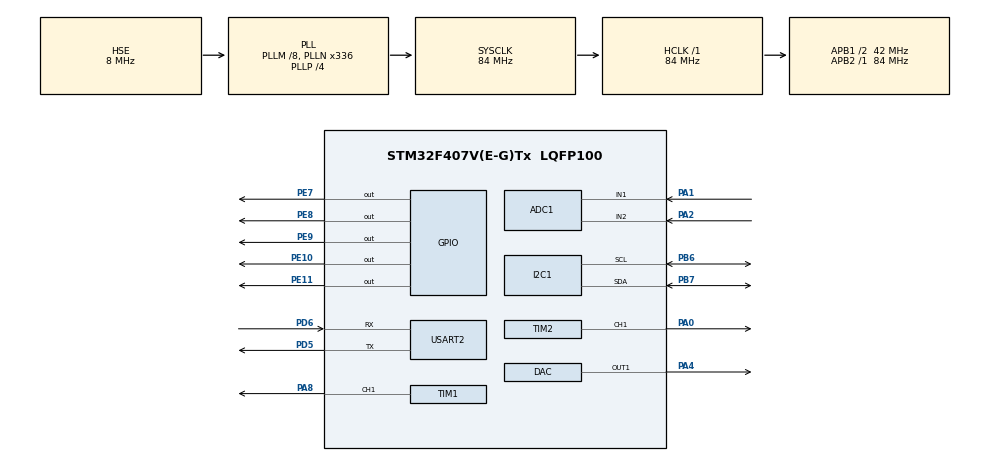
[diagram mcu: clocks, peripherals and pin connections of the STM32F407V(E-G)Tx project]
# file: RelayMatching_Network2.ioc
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ADC1.Channel-10\#ChannelRegularConversion=ADC_CHANNEL_2
ADC1.Channel-7\#ChannelRegularConversion=ADC_CHANNEL_1
ADC1.Channel-8\#ChannelInjectedConversion=ADC_CHANNEL_2
ADC1.Channel-9\#ChannelInjectedConversion=ADC_CHANNEL_2
ADC1.ContinuousConvMode=ENABLE
ADC1.DMAContinuousRequests=ENABLE
ADC1.EOCSelection=ADC_EOC_SEQ_CONV
ADC1.EnableAnalogWatchDog=true
ADC1.ITMode=ENABLE
ADC1.InjNumberOfConversion=2
ADC1.InjectedOffset-8\#ChannelInjectedConversion=0
ADC1.InjectedOffset-9\#ChannelInjectedConversion=0
ADC1.InjectedRank-8\#ChannelInjectedConversion=1
ADC1.InjectedRank-9\#ChannelInjectedConversion=2
ADC1.NbrOfConversion=2
ADC1.NbrOfConversionFlag=1
ADC1.Rank-10\#ChannelRegularConversion=2
ADC1.Rank-7\#ChannelRegularConversion=1
ADC1.SamplingTime-10\#ChannelRegularConversion=ADC_SAMPLETIME_480CYCLES
ADC1.SamplingTime-7\#ChannelRegularConversion=ADC_SAMPLETIME_480CYCLES
ADC1.SamplingTime-8\#ChannelInjectedConversion=ADC_SAMPLETIME_3CYCLES
ADC1.SamplingTime-9\#ChannelInjectedConversion=ADC_SAMPLETIME_3CYCLES
ADC1.WatchdogChannel=ADC_CHANNEL_1
ADC1.master=1
DAC.DAC_Trigger=DAC_TRIGGER_T6_TRGO
Dma.ADC1.0.Direction=DMA_PERIPH_TO_MEMORY
Dma.ADC1.0.FIFOMode=DMA_FIFOMODE_DISABLE
Dma.ADC1.0.Instance=DMA2_Stream0
Dma.ADC1.0.MemDataAlignment=DMA_MDATAALIGN_HALFWORD
Dma.ADC1.0.MemInc=DMA_MINC_ENABLE
Dma.ADC1.0.Mode=DMA_CIRCULAR
Dma.ADC1.0.PeriphDataAlignment=DMA_PDATAALIGN_HALFWORD
Dma.ADC1.0.PeriphInc=DMA_PINC_DISABLE
Dma.ADC1.0.Priority=DMA_PRIORITY_LOW
Dma.DAC1.1.Direction=DMA_MEMORY_TO_PERIPH
Dma.DAC1.1.FIFOMode=DMA_FIFOMODE_DISABLE
Dma.DAC1.1.Instance=DMA1_Stream5
Dma.DAC1.1.MemDataAlignment=DMA_MDATAALIGN_HALFWORD
Dma.DAC1.1.MemInc=DMA_MINC_ENABLE
Dma.DAC1.1.Mode=DMA_CIRCULAR
Dma.DAC1.1.PeriphDataAlignment=DMA_PDATAALIGN_HALFWORD
Dma.DAC1.1.PeriphInc=DMA_PINC_DISABLE
Dma.DAC1.1.Priority=DMA_PRIORITY_LOW
Dma.Request0=ADC1
Dma.Request1=DAC1
Mcu.Family=STM32F4
Mcu.Name=STM32F407V(E-G)Tx
Mcu.Package=LQFP100
NVIC.ADC_IRQn=true\:0\:0\:false\:false\:true\:true\:true\:true
NVIC.DMA1_Stream5_IRQn=true\:0\:0\:false\:false\:true\:false\:true\:true
NVIC.DMA2_Stream0_IRQn=true\:0\:0\:false\:false\:true\:false\:true\:true
NVIC.PriorityGroup=NVIC_PRIORITYGROUP_0
NVIC.USART2_IRQn=true\:0\:0\:false\:false\:true\:true\:true\:true
PA0-WKUP.Signal=S_TIM2_CH1_ETR
PA1.Signal=ADCx_IN1
PA13.Mode=Serial_Wire
PA13.Signal=SYS_JTMS-SWDIO
PA14.Mode=Serial_Wire
PA14.Signal=SYS_JTCK-SWCLK
PA2.Signal=ADCx_IN2
PA4.Signal=COMP_DAC1_group
PA8.Signal=S_TIM1_CH1
PB6.Mode=I2C
PB6.Signal=I2C1_SCL
PB7.Mode=I2C
PB7.Signal=I2C1_SDA
PD5.Mode=Asynchronous
PD5.Signal=USART2_TX
PD6.Mode=Asynchronous
PD6.Signal=USART2_RX
PE10.Signal=GPIO_Output
PE11.Signal=GPIO_Output
PE7.Signal=GPIO_Output
PE8.Signal=GPIO_Output
PE9.Signal=GPIO_Output
PH0-OSC_IN.Mode=HSE-External-Oscillator
PH0-OSC_IN.Signal=RCC_OSC_IN
PH1-OSC_OUT.Mode=HSE-External-Oscillator
PH1-OSC_OUT.Signal=RCC_OSC_OUT
ProjectManager.HeapSize=0x200
ProjectManager.StackSize=0x400
ProjectManager.TargetToolchain=STM32CubeIDE
RCC.48MHZClocksFreq_Value=48000000
RCC.AHBFreq_Value=84000000
RCC.APB1CLKDivider=RCC_HCLK_DIV2
RCC.APB1Freq_Value=42000000
RCC.APB1TimFreq_Value=84000000
RCC.APB2Freq_Value=84000000
RCC.APB2TimFreq_Value=84000000
RCC.CortexFreq_Value=84000000
RCC.HCLKFreq_Value=84000000
RCC.HSE_VALUE=8000000
RCC.HSI_VALUE=16000000
RCC.LSE_VALUE=32768
RCC.PLLM=8
RCC.PLLN=336
RCC.PLLP=RCC_PLLP_DIV4
RCC.PLLQ=7
RCC.PLLSourceVirtual=RCC_PLLSOURCE_HSE
RCC.SYSCLKFreq_VALUE=84000000
RCC.SYSCLKSource=RCC_SYSCLKSOURCE_PLLCLK
RCC.VCOOutputFreq_Value=336000000
SH.ADCx_IN1.0=ADC1_IN1,IN1
SH.ADCx_IN2.0=ADC1_IN2,IN2
SH.COMP_DAC1_group.0=DAC_OUT1,DAC_OUT1
SH.S_TIM1_CH1.0=TIM1_CH1,PWM Generation1 CH1
SH.S_TIM2_CH1_ETR.0=TIM2_CH1,PWM Generation1 CH1
TIM1.Channel-PWM\ Generation1\ CH1=TIM_CHANNEL_1
TIM1.Period=199
TIM1.Prescaler=69
TIM2.Channel-PWM\ Generation1\ CH1=TIM_CHANNEL_1
TIM2.Period=199
TIM2.Prescaler=69
TIM6.Period=65
TIM6.Prescaler=0
TIM6.TIM_MasterOutputTrigger=TIM_TRGO_UPDATE
USART2.VirtualMode=VM_ASYNC
VP_TIM1_VS_ClockSourceINT.Mode=Internal
VP_TIM2_VS_ClockSourceINT.Mode=Internal
VP_TIM6_VS_ClockSourceINT.Mode=Enable_Timer
board=STM32F407G-DISC1

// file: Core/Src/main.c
/* USER CODE BEGIN Header */
/**
  ******************************************************************************
  * @file           : main.c
  * @brief          : Main program body
  ******************************************************************************
  * @attention
  *
  * Copyright (c) 2025 STMicroelectronics.
  * All rights reserved.
  *
  * This software is licensed under terms that can be found in the LICENSE file
  * in the root directory of this software component.
  * If no LICENSE file comes with this software, it is provided AS-IS.
  *
  ******************************************************************************
  */
/* USER CODE END Header */
#include "main.h"

/* USER CODE BEGIN Includes */
#include <stdio.h>
#include <string.h>
#include "uart_handler.h"
#include <math.h>
#include "i2ccomm.h"
#include "sine_generator.h"

/* USER CODE END Includes */

ADC_HandleTypeDef hadc1;
DMA_HandleTypeDef hdma_adc1;

DAC_HandleTypeDef hdac;
DMA_HandleTypeDef hdma_dac1;

I2C_HandleTypeDef hi2c1;

TIM_HandleTypeDef htim1;
TIM_HandleTypeDef htim2;
TIM_HandleTypeDef htim6;

UART_HandleTypeDef huart2;

/* USER CODE BEGIN PV */
// This is the one and only DEFINITION of the variable.
// It tells the compiler to allocate memory for it.
// Application state variable
volatile uint8_t g_test_is_running = 1;

// Application data

/* USER CODE END PV */

void SystemClock_Config(void);
static void MX_GPIO_Init(void);
static void MX_DMA_Init(void);
static void MX_ADC1_Init(void);
static void MX_TIM2_Init(void);
static void MX_USART2_UART_Init(void);
static void MX_I2C1_Init(void);
static void MX_TIM1_Init(void);
static void MX_DAC_Init(void);
static void MX_TIM6_Init(void);

int main(void)
{

  /* MCU Configuration--------------------------------------------------------*/

  /* Reset of all peripherals, Initializes the Flash interface and the Systick. */
  HAL_Init();

  /* Configure the system clock */
  SystemClock_Config();

  /* Initialize all configured peripherals */
  MX_GPIO_Init();
  MX_DMA_Init();
  MX_ADC1_Init();
  MX_TIM2_Init();
  MX_USART2_UART_Init();
  MX_I2C1_Init();
  MX_TIM1_Init();
  MX_DAC_Init();
  MX_TIM6_Init();
  /* USER CODE BEGIN 2 */
  uart_handler_init(&huart2); // When regenerated this line of Code would always reset need to add
  SineGenerator_Start(&hdac, &htim6);
  /* USER CODE END 2 */

  /* Infinite loop */
  while (1)
  {

    /* USER CODE BEGIN 3 */
		/* ================================================================
		 * SECTION 1: UART COMMAND HANDLING (PRODUCER–CONSUMER)
		 * ================================================================ */

		if (uart_command_is_ready()) {
			const char *command = (const char*) uart_get_command_buffer();

			printf("DBG_MAIN: Command received: [%s]\r\n", command);
			fflush(stdout);

			if (strcmp(command, "CMD:STOP_TEST") == 0) {
				g_test_is_running = 0;
			}
			else if (strcmp(command, "CMD:CONFIG1") == 0)
			{
				g_test_is_running = 1;
			}
			else if (strcmp(command, "CMD:CONFIG2") == 0)
			{
				g_test_is_running = 2;
			}
			else if (strcmp(command, "CMD:CONFIG3") == 0)
			{
				g_test_is_running = 3;
			}
			else
			{
				printf("DBG_MAIN: Unknown command\r\n");
				fflush(stdout);
			}

			uart_reset_for_next_command();
		}

		/* ================================================================
		 * SECTION 2: STATE-BASED ACTION DISPATCH
		 * ================================================================ */
		switch (g_test_is_running) {
		case 0:
			/* Full automated test */
			TurnRelayOff();
			printf("All relays turned off \r\n");
			break;

		case 1:
			TurnK1K2On();
			printf("Relay 1 and 2 is turned on \r\n");
			break;

		case 2:
			TurnK3On();
			printf("Relay 2 is turned on \r\n");
			break;

		case 3:
			TurnK4On();
			printf("Relay 2 is turned on \r\n");
			break;

		default:
			/* Idle */
			break;
		}

		HAL_Delay(100);

  }
  /* USER CODE END 3 */
}

void SystemClock_Config(void)
{
  RCC_OscInitTypeDef RCC_OscInitStruct = {0};
  RCC_ClkInitTypeDef RCC_ClkInitStruct = {0};

  /** Configure the main internal regulator output voltage
  */
  __HAL_RCC_PWR_CLK_ENABLE();
  __HAL_PWR_VOLTAGESCALING_CONFIG(PWR_REGULATOR_VOLTAGE_SCALE1);

  /** Initializes the RCC Oscillators according to the specified parameters
  * in the RCC_OscInitTypeDef structure.
  */
  RCC_OscInitStruct.OscillatorType = RCC_OSCILLATORTYPE_HSE;
  RCC_OscInitStruct.HSEState = RCC_HSE_ON;
  RCC_OscInitStruct.PLL.PLLState = RCC_PLL_ON;
  RCC_OscInitStruct.PLL.PLLSource = RCC_PLLSOURCE_HSE;
  RCC_OscInitStruct.PLL.PLLM = 8;
  RCC_OscInitStruct.PLL.PLLN = 336;
  RCC_OscInitStruct.PLL.PLLP = RCC_PLLP_DIV4;
  RCC_OscInitStruct.PLL.PLLQ = 7;
  if (HAL_RCC_OscConfig(&RCC_OscInitStruct) != HAL_OK)
  {
    Error_Handler();
  }

  /** Initializes the CPU, AHB and APB buses clocks
  */
  RCC_ClkInitStruct.ClockType = RCC_CLOCKTYPE_HCLK|RCC_CLOCKTYPE_SYSCLK
                              |RCC_CLOCKTYPE_PCLK1|RCC_CLOCKTYPE_PCLK2;
  RCC_ClkInitStruct.SYSCLKSource = RCC_SYSCLKSOURCE_PLLCLK;
  RCC_ClkInitStruct.AHBCLKDivider = RCC_SYSCLK_DIV1;
  RCC_ClkInitStruct.APB1CLKDivider = RCC_HCLK_DIV2;
  RCC_ClkInitStruct.APB2CLKDivider = RCC_HCLK_DIV1;

  if (HAL_RCC_ClockConfig(&RCC_ClkInitStruct, FLASH_LATENCY_2) != HAL_OK)
  {
    Error_Handler();
  }
}

static void MX_ADC1_Init(void)
{

  ADC_AnalogWDGConfTypeDef AnalogWDGConfig = {0};
  ADC_ChannelConfTypeDef sConfig = {0};
  ADC_InjectionConfTypeDef sConfigInjected = {0};

  /** Configure the global features of the ADC (Clock, Resolution, Data Alignment and number of conversion)
  */
  hadc1.Instance = ADC1;
  hadc1.Init.ClockPrescaler = ADC_CLOCK_SYNC_PCLK_DIV4;
  hadc1.Init.Resolution = ADC_RESOLUTION_12B;
  hadc1.Init.ScanConvMode = ENABLE;
  hadc1.Init.ContinuousConvMode = ENABLE;
  hadc1.Init.DiscontinuousConvMode = DISABLE;
  hadc1.Init.ExternalTrigConvEdge = ADC_EXTERNALTRIGCONVEDGE_NONE;
  hadc1.Init.ExternalTrigConv = ADC_SOFTWARE_START;
  hadc1.Init.DataAlign = ADC_DATAALIGN_RIGHT;
  hadc1.Init.NbrOfConversion = 2;
  hadc1.Init.DMAContinuousRequests = ENABLE;
  hadc1.Init.EOCSelection = ADC_EOC_SEQ_CONV;
  if (HAL_ADC_Init(&hadc1) != HAL_OK)
  {
    Error_Handler();
  }

  /** Configure the analog watchdog
  */
  AnalogWDGConfig.WatchdogMode = ADC_ANALOGWATCHDOG_SINGLE_REG;
  AnalogWDGConfig.HighThreshold = 0;
  AnalogWDGConfig.LowThreshold = 0;
  AnalogWDGConfig.Channel = ADC_CHANNEL_1;
  AnalogWDGConfig.ITMode = ENABLE;
  if (HAL_ADC_AnalogWDGConfig(&hadc1, &AnalogWDGConfig) != HAL_OK)
  {
    Error_Handler();
  }

  /** Configure for the selected ADC regular channel its corresponding rank in the sequencer and its sample time.
  */
  sConfig.Channel = ADC_CHANNEL_1;
  sConfig.Rank = 1;
  sConfig.SamplingTime = ADC_SAMPLETIME_480CYCLES;
  if (HAL_ADC_ConfigChannel(&hadc1, &sConfig) != HAL_OK)
  {
    Error_Handler();
  }

  /** Configure for the selected ADC regular channel its corresponding rank in the sequencer and its sample time.
  */
  sConfig.Channel = ADC_CHANNEL_2;
  sConfig.Rank = 2;
  if (HAL_ADC_ConfigChannel(&hadc1, &sConfig) != HAL_OK)
  {
    Error_Handler();
  }

  /** Configures for the selected ADC injected channel its corresponding rank in the sequencer and its sample time
  */
  sConfigInjected.InjectedChannel = ADC_CHANNEL_2;
  sConfigInjected.InjectedRank = 1;
  sConfigInjected.InjectedNbrOfConversion = 2;
  sConfigInjected.InjectedSamplingTime = ADC_SAMPLETIME_3CYCLES;
  sConfigInjected.ExternalTrigInjecConvEdge = ADC_EXTERNALTRIGINJECCONVEDGE_NONE;
  sConfigInjected.ExternalTrigInjecConv = ADC_INJECTED_SOFTWARE_START;
  sConfigInjected.AutoInjectedConv = DISABLE;
  sConfigInjected.InjectedDiscontinuousConvMode = DISABLE;
  sConfigInjected.InjectedOffset = 0;
  if (HAL_ADCEx_InjectedConfigChannel(&hadc1, &sConfigInjected) != HAL_OK)
  {
    Error_Handler();
  }

  /** Configures for the selected ADC injected channel its corresponding rank in the sequencer and its sample time
  */
  sConfigInjected.InjectedRank = 2;
  if (HAL_ADCEx_InjectedConfigChannel(&hadc1, &sConfigInjected) != HAL_OK)
  {
    Error_Handler();
  }

}

static void MX_DAC_Init(void)
{

  DAC_ChannelConfTypeDef sConfig = {0};

  /** DAC Initialization
  */
  hdac.Instance = DAC;
  if (HAL_DAC_Init(&hdac) != HAL_OK)
  {
    Error_Handler();
  }

  /** DAC channel OUT1 config
  */
  sConfig.DAC_Trigger = DAC_TRIGGER_T6_TRGO;
  sConfig.DAC_OutputBuffer = DAC_OUTPUTBUFFER_ENABLE;
  if (HAL_DAC_ConfigChannel(&hdac, &sConfig, DAC_CHANNEL_1) != HAL_OK)
  {
    Error_Handler();
  }

}

static void MX_I2C1_Init(void)
{

  hi2c1.Instance = I2C1;
  hi2c1.Init.ClockSpeed = 100000;
  hi2c1.Init.DutyCycle = I2C_DUTYCYCLE_2;
  hi2c1.Init.OwnAddress1 = 0;
  hi2c1.Init.AddressingMode = I2C_ADDRESSINGMODE_7BIT;
  hi2c1.Init.DualAddressMode = I2C_DUALADDRESS_DISABLE;
  hi2c1.Init.OwnAddress2 = 0;
  hi2c1.Init.GeneralCallMode = I2C_GENERALCALL_DISABLE;
  hi2c1.Init.NoStretchMode = I2C_NOSTRETCH_DISABLE;
  if (HAL_I2C_Init(&hi2c1) != HAL_OK)
  {
    Error_Handler();
  }

}

static void MX_TIM1_Init(void)
{

  TIM_ClockConfigTypeDef sClockSourceConfig = {0};
  TIM_MasterConfigTypeDef sMasterConfig = {0};
  TIM_OC_InitTypeDef sConfigOC = {0};
  TIM_BreakDeadTimeConfigTypeDef sBreakDeadTimeConfig = {0};

  htim1.Instance = TIM1;
  htim1.Init.Prescaler = 69;
  htim1.Init.CounterMode = TIM_COUNTERMODE_UP;
  htim1.Init.Period = 199;
  htim1.Init.ClockDivision = TIM_CLOCKDIVISION_DIV1;
  htim1.Init.RepetitionCounter = 0;
  htim1.Init.AutoReloadPreload = TIM_AUTORELOAD_PRELOAD_DISABLE;
  if (HAL_TIM_Base_Init(&htim1) != HAL_OK)
  {
    Error_Handler();
  }
  sClockSourceConfig.ClockSource = TIM_CLOCKSOURCE_INTERNAL;
  if (HAL_TIM_ConfigClockSource(&htim1, &sClockSourceConfig) != HAL_OK)
  {
    Error_Handler();
  }
  if (HAL_TIM_PWM_Init(&htim1) != HAL_OK)
  {
    Error_Handler();
  }
  sMasterConfig.MasterOutputTrigger = TIM_TRGO_RESET;
  sMasterConfig.MasterSlaveMode = TIM_MASTERSLAVEMODE_DISABLE;
  if (HAL_TIMEx_MasterConfigSynchronization(&htim1, &sMasterConfig) != HAL_OK)
  {
    Error_Handler();
  }
  sConfigOC.OCMode = TIM_OCMODE_PWM1;
  sConfigOC.Pulse = 0;
  sConfigOC.OCPolarity = TIM_OCPOLARITY_HIGH;
  sConfigOC.OCNPolarity = TIM_OCNPOLARITY_HIGH;
  sConfigOC.OCFastMode = TIM_OCFAST_DISABLE;
  sConfigOC.OCIdleState = TIM_OCIDLESTATE_RESET;
  sConfigOC.OCNIdleState = TIM_OCNIDLESTATE_RESET;
  if (HAL_TIM_PWM_ConfigChannel(&htim1, &sConfigOC, TIM_CHANNEL_1) != HAL_OK)
  {
    Error_Handler();
  }
  sBreakDeadTimeConfig.OffStateRunMode = TIM_OSSR_DISABLE;
  sBreakDeadTimeConfig.OffStateIDLEMode = TIM_OSSI_DISABLE;
  sBreakDeadTimeConfig.LockLevel = TIM_LOCKLEVEL_OFF;
  sBreakDeadTimeConfig.DeadTime = 0;
  sBreakDeadTimeConfig.BreakState = TIM_BREAK_DISABLE;
  sBreakDeadTimeConfig.BreakPolarity = TIM_BREAKPOLARITY_HIGH;
  sBreakDeadTimeConfig.AutomaticOutput = TIM_AUTOMATICOUTPUT_DISABLE;
  if (HAL_TIMEx_ConfigBreakDeadTime(&htim1, &sBreakDeadTimeConfig) != HAL_OK)
  {
    Error_Handler();
  }
  HAL_TIM_MspPostInit(&htim1);

}

static void MX_TIM2_Init(void)
{

  TIM_ClockConfigTypeDef sClockSourceConfig = {0};
  TIM_MasterConfigTypeDef sMasterConfig = {0};
  TIM_OC_InitTypeDef sConfigOC = {0};

  htim2.Instance = TIM2;
  htim2.Init.Prescaler = 69;
  htim2.Init.CounterMode = TIM_COUNTERMODE_UP;
  htim2.Init.Period = 199;
  htim2.Init.ClockDivision = TIM_CLOCKDIVISION_DIV1;
  htim2.Init.AutoReloadPreload = TIM_AUTORELOAD_PRELOAD_DISABLE;
  if (HAL_TIM_Base_Init(&htim2) != HAL_OK)
  {
    Error_Handler();
  }
  sClockSourceConfig.ClockSource = TIM_CLOCKSOURCE_INTERNAL;
  if (HAL_TIM_ConfigClockSource(&htim2, &sClockSourceConfig) != HAL_OK)
  {
    Error_Handler();
  }
  if (HAL_TIM_PWM_Init(&htim2) != HAL_OK)
  {
    Error_Handler();
  }
  sMasterConfig.MasterOutputTrigger = TIM_TRGO_RESET;
  sMasterConfig.MasterSlaveMode = TIM_MASTERSLAVEMODE_DISABLE;
  if (HAL_TIMEx_MasterConfigSynchronization(&htim2, &sMasterConfig) != HAL_OK)
  {
    Error_Handler();
  }
  sConfigOC.OCMode = TIM_OCMODE_PWM1;
  sConfigOC.Pulse = 0;
  sConfigOC.OCPolarity = TIM_OCPOLARITY_HIGH;
  sConfigOC.OCFastMode = TIM_OCFAST_DISABLE;
  if (HAL_TIM_PWM_ConfigChannel(&htim2, &sConfigOC, TIM_CHANNEL_1) != HAL_OK)
  {
    Error_Handler();
  }
  HAL_TIM_MspPostInit(&htim2);

}

static void MX_TIM6_Init(void)
{

  TIM_MasterConfigTypeDef sMasterConfig = {0};

  htim6.Instance = TIM6;
  htim6.Init.Prescaler = 0;
  htim6.Init.CounterMode = TIM_COUNTERMODE_UP;
  htim6.Init.Period = 65;
  htim6.Init.AutoReloadPreload = TIM_AUTORELOAD_PRELOAD_DISABLE;
  if (HAL_TIM_Base_Init(&htim6) != HAL_OK)
  {
    Error_Handler();
  }
  sMasterConfig.MasterOutputTrigger = TIM_TRGO_UPDATE;
  sMasterConfig.MasterSlaveMode = TIM_MASTERSLAVEMODE_DISABLE;
  if (HAL_TIMEx_MasterConfigSynchronization(&htim6, &sMasterConfig) != HAL_OK)
  {
    Error_Handler();
  }

}

static void MX_USART2_UART_Init(void)
{

  huart2.Instance = USART2;
  huart2.Init.BaudRate = 115200;
  huart2.Init.WordLength = UART_WORDLENGTH_8B;
  huart2.Init.StopBits = UART_STOPBITS_1;
  huart2.Init.Parity = UART_PARITY_NONE;
  huart2.Init.Mode = UART_MODE_TX_RX;
  huart2.Init.HwFlowCtl = UART_HWCONTROL_NONE;
  huart2.Init.OverSampling = UART_OVERSAMPLING_16;
  if (HAL_UART_Init(&huart2) != HAL_OK)
  {
    Error_Handler();
  }

}

static void MX_DMA_Init(void)
{

  /* DMA controller clock enable */
  __HAL_RCC_DMA2_CLK_ENABLE();
  __HAL_RCC_DMA1_CLK_ENABLE();

  /* DMA interrupt init */
  /* DMA1_Stream5_IRQn interrupt configuration */
  HAL_NVIC_SetPriority(DMA1_Stream5_IRQn, 0, 0);
  HAL_NVIC_EnableIRQ(DMA1_Stream5_IRQn);
  /* DMA2_Stream0_IRQn interrupt configuration */
  HAL_NVIC_SetPriority(DMA2_Stream0_IRQn, 0, 0);
  HAL_NVIC_EnableIRQ(DMA2_Stream0_IRQn);

}

static void MX_GPIO_Init(void)
{
  GPIO_InitTypeDef GPIO_InitStruct = {0};

  /* GPIO Ports Clock Enable */
  __HAL_RCC_GPIOH_CLK_ENABLE();
  __HAL_RCC_GPIOA_CLK_ENABLE();
  __HAL_RCC_GPIOE_CLK_ENABLE();
  __HAL_RCC_GPIOD_CLK_ENABLE();
  __HAL_RCC_GPIOB_CLK_ENABLE();

  /*Configure GPIO pin Output Level */
  HAL_GPIO_WritePin(GPIOE, GPIO_PIN_7|GPIO_PIN_8|GPIO_PIN_9|GPIO_PIN_10
                          |GPIO_PIN_11, GPIO_PIN_RESET);

  /*Configure GPIO pins : PE7 PE8 PE9 PE10
                           PE11 */
  GPIO_InitStruct.Pin = GPIO_PIN_7|GPIO_PIN_8|GPIO_PIN_9|GPIO_PIN_10
                          |GPIO_PIN_11;
  GPIO_InitStruct.Mode = GPIO_MODE_OUTPUT_PP;
  GPIO_InitStruct.Pull = GPIO_NOPULL;
  GPIO_InitStruct.Speed = GPIO_SPEED_FREQ_LOW;
  HAL_GPIO_Init(GPIOE, &GPIO_InitStruct);

}

void Error_Handler(void)
{
  __disable_irq();
  while (1)
  {
  }
}
